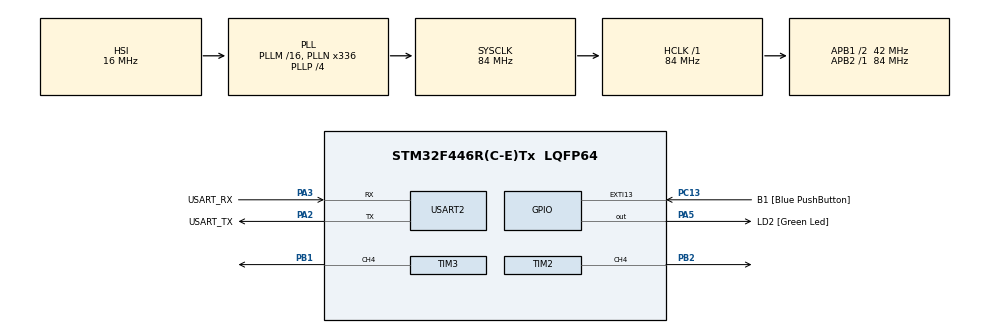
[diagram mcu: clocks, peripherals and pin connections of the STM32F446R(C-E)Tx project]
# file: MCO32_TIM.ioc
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Mcu.Family=STM32F4
Mcu.Name=STM32F446R(C-E)Tx
Mcu.Package=LQFP64
NVIC.PriorityGroup=NVIC_PRIORITYGROUP_0
NVIC.TIM6_DAC_IRQn=true\:0\:2\:false\:false\:true\:true\:true\:true
PA13.GPIO_Label=TMS
PA13.Mode=Serial_Wire
PA13.Signal=SYS_JTMS-SWDIO
PA14.GPIO_Label=TCK
PA14.Mode=Serial_Wire
PA14.Signal=SYS_JTCK-SWCLK
PA2.GPIO_Label=USART_TX
PA2.Mode=Asynchronous
PA2.Signal=USART2_TX
PA3.GPIO_Label=USART_RX
PA3.Mode=Asynchronous
PA3.Signal=USART2_RX
PA5.GPIO_Label=LD2 [Green Led]
PA5.Signal=GPIO_Output
PB1.Signal=S_TIM3_CH4
PB2.Signal=S_TIM2_CH4
PB3.GPIO_Label=SWO
PB3.Signal=SYS_JTDO-SWO
PC13.GPIO_Label=B1 [Blue PushButton]
PC13.GPIO_ModeDefaultEXTI=GPIO_MODE_IT_FALLING
PC13.Signal=GPXTI13
PC14-OSC32_IN.Mode=LSE-External-Oscillator
PC14-OSC32_IN.Signal=RCC_OSC32_IN
PC15-OSC32_OUT.Mode=LSE-External-Oscillator
PC15-OSC32_OUT.Signal=RCC_OSC32_OUT
PH0-OSC_IN.Mode=HSE-External-Oscillator
PH0-OSC_IN.Signal=RCC_OSC_IN
PH1-OSC_OUT.Mode=HSE-External-Oscillator
PH1-OSC_OUT.Signal=RCC_OSC_OUT
ProjectManager.HeapSize=0x200
ProjectManager.StackSize=0x400
ProjectManager.TargetToolchain=STM32CubeIDE
RCC.48MHZClocksFreq_Value=84000000
RCC.AHBFreq_Value=84000000
RCC.APB1CLKDivider=RCC_HCLK_DIV2
RCC.APB1Freq_Value=42000000
RCC.APB1TimFreq_Value=84000000
RCC.APB2Freq_Value=84000000
RCC.APB2TimFreq_Value=84000000
RCC.CortexFreq_Value=84000000
RCC.FLatency-AdvancedSettings=FLASH_LATENCY_2
RCC.HCLKFreq_Value=84000000
RCC.HSE_VALUE=8000000
RCC.HSI_VALUE=16000000
RCC.PLLN=336
RCC.PLLP=RCC_PLLP_DIV4
RCC.SYSCLKFreq_VALUE=84000000
RCC.SYSCLKSource=RCC_SYSCLKSOURCE_PLLCLK
RCC.USBFreq_Value=168000000
RCC.VCOOutputFreq_Value=336000000
SH.S_TIM2_CH4.0=TIM2_CH4,PWM Generation4 CH4
SH.S_TIM3_CH4.0=TIM3_CH4,PWM Generation4 CH4
TIM1.AutoReloadPreload=TIM_AUTORELOAD_PRELOAD_ENABLE
TIM1.Period=0xFFFF-1
TIM1.Prescaler=84-1
TIM2.Channel-PWM\ Generation4\ CH4=TIM_CHANNEL_4
TIM2.Period=2000-1
TIM2.Prescaler=840-1
TIM3.Channel-PWM\ Generation4\ CH4=TIM_CHANNEL_4
TIM3.Period=100-1
TIM3.Prescaler=84-1
TIM6.AutoReloadPreload=TIM_AUTORELOAD_PRELOAD_ENABLE
TIM6.Period=10000-1
TIM6.Prescaler=8400-1
USART2.VirtualMode=VM_ASYNC
VP_TIM1_VS_ClockSourceINT.Mode=Internal
VP_TIM2_VS_ClockSourceINT.Mode=Internal
VP_TIM3_VS_ClockSourceINT.Mode=Internal
VP_TIM6_VS_ClockSourceINT.Mode=Enable_Timer
board=NUCLEO-F446RE

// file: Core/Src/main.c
/* USER CODE BEGIN Header */
/**
  ******************************************************************************
  * @file           : main.c
  * @brief          : Main program body
  ******************************************************************************
  * @attention
  *
  * Copyright (c) 2022 STMicroelectronics.
  * All rights reserved.
  *
  * This software is licensed under terms that can be found in the LICENSE file
  * in the root directory of this software component.
  * If no LICENSE file comes with this software, it is provided AS-IS.
  *
  ******************************************************************************
  */
/* USER CODE END Header */
#include "main.h"

/* USER CODE BEGIN Includes */
#include <stdio.h>
/* USER CODE END Includes */

/* USER CODE BEGIN PD */

//#define EX1 1 //TIM1 no modo temporizador crescente (imprime na serial o valor atual)
//#define EX2 2 //TIM3 no modo PWM pino PB1 (medir com osciloscópio incremento do dutycycle)
//#define EX3 3 //TIM2 no modo PWM pino PB2 (controla o servo motor)
#define EX4 4 //TIM6 no modo retriguerável e interrupção (inverte LD2 a cada estouro)

/* USER CODE END PD */

TIM_HandleTypeDef htim1;
TIM_HandleTypeDef htim2;
TIM_HandleTypeDef htim3;
TIM_HandleTypeDef htim6;

UART_HandleTypeDef huart2;

void SystemClock_Config(void);
static void MX_GPIO_Init(void);
static void MX_USART2_UART_Init(void);
static void MX_TIM1_Init(void);
static void MX_TIM3_Init(void);
static void MX_TIM2_Init(void);
static void MX_TIM6_Init(void);

int main(void)
{
  /* USER CODE BEGIN 1 */
#ifdef EX1
	uint8_t size;
	char mensagem[50];
#endif

#ifdef EX2
	uint32_t dutycycle = 0;
#endif

  /* USER CODE END 1 */

  /* MCU Configuration--------------------------------------------------------*/

  /* Reset of all peripherals, Initializes the Flash interface and the Systick. */
  HAL_Init();

  /* Configure the system clock */
  SystemClock_Config();

  /* Initialize all configured peripherals */
  MX_GPIO_Init();
  MX_USART2_UART_Init();
  MX_TIM1_Init();
  MX_TIM3_Init();
  MX_TIM2_Init();
  MX_TIM6_Init();
  /* USER CODE BEGIN 2 */
#ifdef EX1
  HAL_TIM_Base_Start(&htim1); //Inicializa o Timer1 (tick 1us LCD)
#endif

#ifdef EX2
  HAL_TIM_PWM_Start(&htim3, TIM_CHANNEL_4); //Inicia o PWM no pino PB1
#endif

#ifdef EX3
  //Inicia o PWM no pino PB2 para servo motor
  HAL_TIM_PWM_Start(&htim2, TIM_CHANNEL_4);
  //Ajusta o ângulo em 0 graus
  htim2.Instance->CCR4 = 0 + 60; //60 = 0,6 ms, 0 = 0,0 ms, total = 0,6 ms
#endif

#ifdef EX4
  HAL_TIM_Base_Start_IT(&htim6); //Inicia o timer
#endif
  /* USER CODE END 2 */

  /* Infinite loop */
  /* USER CODE BEGIN WHILE */
  while (1)
  {
#ifdef EX1
	  /* Imprime valor do timer1 */
	  size = sprintf(mensagem, "TIM2 = %lu\r\n", htim1.Instance->CNT);
	  HAL_UART_Transmit(&huart2, (uint8_t*)mensagem, size, 100);
	  HAL_Delay(20);
#endif

#ifdef EX2
	  /* Ajusta dutycycle do pwm (CH4 - PB1) */
	  dutycycle = (dutycycle + 1) %101;
	  htim3.Instance->CCR4 = dutycycle;
#endif

#ifdef EX3
	  for(uint8_t i=0; i<=180; i=i+10)
	  {
		  htim2.Instance->CCR4 = i + 60;
		  HAL_Delay(200);
	  }
#endif

    /* USER CODE END WHILE */

  }
}

void SystemClock_Config(void)
{
  RCC_OscInitTypeDef RCC_OscInitStruct = {0};
  RCC_ClkInitTypeDef RCC_ClkInitStruct = {0};

  /** Configure the main internal regulator output voltage
  */
  __HAL_RCC_PWR_CLK_ENABLE();
  __HAL_PWR_VOLTAGESCALING_CONFIG(PWR_REGULATOR_VOLTAGE_SCALE3);

  /** Initializes the RCC Oscillators according to the specified parameters
  * in the RCC_OscInitTypeDef structure.
  */
  RCC_OscInitStruct.OscillatorType = RCC_OSCILLATORTYPE_HSI;
  RCC_OscInitStruct.HSIState = RCC_HSI_ON;
  RCC_OscInitStruct.HSICalibrationValue = RCC_HSICALIBRATION_DEFAULT;
  RCC_OscInitStruct.PLL.PLLState = RCC_PLL_ON;
  RCC_OscInitStruct.PLL.PLLSource = RCC_PLLSOURCE_HSI;
  RCC_OscInitStruct.PLL.PLLM = 16;
  RCC_OscInitStruct.PLL.PLLN = 336;
  RCC_OscInitStruct.PLL.PLLP = RCC_PLLP_DIV4;
  RCC_OscInitStruct.PLL.PLLQ = 2;
  RCC_OscInitStruct.PLL.PLLR = 2;
  if (HAL_RCC_OscConfig(&RCC_OscInitStruct) != HAL_OK)
  {
    Error_Handler();
  }

  /** Initializes the CPU, AHB and APB buses clocks
  */
  RCC_ClkInitStruct.ClockType = RCC_CLOCKTYPE_HCLK|RCC_CLOCKTYPE_SYSCLK
                              |RCC_CLOCKTYPE_PCLK1|RCC_CLOCKTYPE_PCLK2;
  RCC_ClkInitStruct.SYSCLKSource = RCC_SYSCLKSOURCE_PLLCLK;
  RCC_ClkInitStruct.AHBCLKDivider = RCC_SYSCLK_DIV1;
  RCC_ClkInitStruct.APB1CLKDivider = RCC_HCLK_DIV2;
  RCC_ClkInitStruct.APB2CLKDivider = RCC_HCLK_DIV1;

  if (HAL_RCC_ClockConfig(&RCC_ClkInitStruct, FLASH_LATENCY_2) != HAL_OK)
  {
    Error_Handler();
  }
}

static void MX_TIM1_Init(void)
{

  TIM_ClockConfigTypeDef sClockSourceConfig = {0};
  TIM_MasterConfigTypeDef sMasterConfig = {0};

  htim1.Instance = TIM1;
  htim1.Init.Prescaler = 84-1;
  htim1.Init.CounterMode = TIM_COUNTERMODE_UP;
  htim1.Init.Period = 0xFFFF-1;
  htim1.Init.ClockDivision = TIM_CLOCKDIVISION_DIV1;
  htim1.Init.RepetitionCounter = 0;
  htim1.Init.AutoReloadPreload = TIM_AUTORELOAD_PRELOAD_ENABLE;
  if (HAL_TIM_Base_Init(&htim1) != HAL_OK)
  {
    Error_Handler();
  }
  sClockSourceConfig.ClockSource = TIM_CLOCKSOURCE_INTERNAL;
  if (HAL_TIM_ConfigClockSource(&htim1, &sClockSourceConfig) != HAL_OK)
  {
    Error_Handler();
  }
  sMasterConfig.MasterOutputTrigger = TIM_TRGO_RESET;
  sMasterConfig.MasterSlaveMode = TIM_MASTERSLAVEMODE_DISABLE;
  if (HAL_TIMEx_MasterConfigSynchronization(&htim1, &sMasterConfig) != HAL_OK)
  {
    Error_Handler();
  }

}

static void MX_TIM2_Init(void)
{

  TIM_ClockConfigTypeDef sClockSourceConfig = {0};
  TIM_MasterConfigTypeDef sMasterConfig = {0};
  TIM_OC_InitTypeDef sConfigOC = {0};

  htim2.Instance = TIM2;
  htim2.Init.Prescaler = 840-1;
  htim2.Init.CounterMode = TIM_COUNTERMODE_UP;
  htim2.Init.Period = 2000-1;
  htim2.Init.ClockDivision = TIM_CLOCKDIVISION_DIV1;
  htim2.Init.AutoReloadPreload = TIM_AUTORELOAD_PRELOAD_DISABLE;
  if (HAL_TIM_Base_Init(&htim2) != HAL_OK)
  {
    Error_Handler();
  }
  sClockSourceConfig.ClockSource = TIM_CLOCKSOURCE_INTERNAL;
  if (HAL_TIM_ConfigClockSource(&htim2, &sClockSourceConfig) != HAL_OK)
  {
    Error_Handler();
  }
  if (HAL_TIM_PWM_Init(&htim2) != HAL_OK)
  {
    Error_Handler();
  }
  sMasterConfig.MasterOutputTrigger = TIM_TRGO_RESET;
  sMasterConfig.MasterSlaveMode = TIM_MASTERSLAVEMODE_DISABLE;
  if (HAL_TIMEx_MasterConfigSynchronization(&htim2, &sMasterConfig) != HAL_OK)
  {
    Error_Handler();
  }
  sConfigOC.OCMode = TIM_OCMODE_PWM1;
  sConfigOC.Pulse = 0;
  sConfigOC.OCPolarity = TIM_OCPOLARITY_HIGH;
  sConfigOC.OCFastMode = TIM_OCFAST_DISABLE;
  if (HAL_TIM_PWM_ConfigChannel(&htim2, &sConfigOC, TIM_CHANNEL_4) != HAL_OK)
  {
    Error_Handler();
  }
  HAL_TIM_MspPostInit(&htim2);

}

static void MX_TIM3_Init(void)
{

  TIM_ClockConfigTypeDef sClockSourceConfig = {0};
  TIM_MasterConfigTypeDef sMasterConfig = {0};
  TIM_OC_InitTypeDef sConfigOC = {0};

  htim3.Instance = TIM3;
  htim3.Init.Prescaler = 84-1;
  htim3.Init.CounterMode = TIM_COUNTERMODE_UP;
  htim3.Init.Period = 100-1;
  htim3.Init.ClockDivision = TIM_CLOCKDIVISION_DIV1;
  htim3.Init.AutoReloadPreload = TIM_AUTORELOAD_PRELOAD_DISABLE;
  if (HAL_TIM_Base_Init(&htim3) != HAL_OK)
  {
    Error_Handler();
  }
  sClockSourceConfig.ClockSource = TIM_CLOCKSOURCE_INTERNAL;
  if (HAL_TIM_ConfigClockSource(&htim3, &sClockSourceConfig) != HAL_OK)
  {
    Error_Handler();
  }
  if (HAL_TIM_PWM_Init(&htim3) != HAL_OK)
  {
    Error_Handler();
  }
  sMasterConfig.MasterOutputTrigger = TIM_TRGO_RESET;
  sMasterConfig.MasterSlaveMode = TIM_MASTERSLAVEMODE_DISABLE;
  if (HAL_TIMEx_MasterConfigSynchronization(&htim3, &sMasterConfig) != HAL_OK)
  {
    Error_Handler();
  }
  sConfigOC.OCMode = TIM_OCMODE_PWM1;
  sConfigOC.Pulse = 0;
  sConfigOC.OCPolarity = TIM_OCPOLARITY_HIGH;
  sConfigOC.OCFastMode = TIM_OCFAST_DISABLE;
  if (HAL_TIM_PWM_ConfigChannel(&htim3, &sConfigOC, TIM_CHANNEL_4) != HAL_OK)
  {
    Error_Handler();
  }
  HAL_TIM_MspPostInit(&htim3);

}

static void MX_TIM6_Init(void)
{

  TIM_MasterConfigTypeDef sMasterConfig = {0};

  htim6.Instance = TIM6;
  htim6.Init.Prescaler = 8400-1;
  htim6.Init.CounterMode = TIM_COUNTERMODE_UP;
  htim6.Init.Period = 10000-1;
  htim6.Init.AutoReloadPreload = TIM_AUTORELOAD_PRELOAD_ENABLE;
  if (HAL_TIM_Base_Init(&htim6) != HAL_OK)
  {
    Error_Handler();
  }
  sMasterConfig.MasterOutputTrigger = TIM_TRGO_RESET;
  sMasterConfig.MasterSlaveMode = TIM_MASTERSLAVEMODE_DISABLE;
  if (HAL_TIMEx_MasterConfigSynchronization(&htim6, &sMasterConfig) != HAL_OK)
  {
    Error_Handler();
  }

}

static void MX_USART2_UART_Init(void)
{

  huart2.Instance = USART2;
  huart2.Init.BaudRate = 115200;
  huart2.Init.WordLength = UART_WORDLENGTH_8B;
  huart2.Init.StopBits = UART_STOPBITS_1;
  huart2.Init.Parity = UART_PARITY_NONE;
  huart2.Init.Mode = UART_MODE_TX_RX;
  huart2.Init.HwFlowCtl = UART_HWCONTROL_NONE;
  huart2.Init.OverSampling = UART_OVERSAMPLING_16;
  if (HAL_UART_Init(&huart2) != HAL_OK)
  {
    Error_Handler();
  }

}

static void MX_GPIO_Init(void)
{
  GPIO_InitTypeDef GPIO_InitStruct = {0};

  /* GPIO Ports Clock Enable */
  __HAL_RCC_GPIOC_CLK_ENABLE();
  __HAL_RCC_GPIOH_CLK_ENABLE();
  __HAL_RCC_GPIOA_CLK_ENABLE();
  __HAL_RCC_GPIOB_CLK_ENABLE();

  /*Configure GPIO pin Output Level */
  HAL_GPIO_WritePin(LD2_GPIO_Port, LD2_Pin, GPIO_PIN_RESET);

  /*Configure GPIO pin : B1_Pin */
  GPIO_InitStruct.Pin = B1_Pin;
  GPIO_InitStruct.Mode = GPIO_MODE_IT_FALLING;
  GPIO_InitStruct.Pull = GPIO_NOPULL;
  HAL_GPIO_Init(B1_GPIO_Port, &GPIO_InitStruct);

  /*Configure GPIO pin : LD2_Pin */
  GPIO_InitStruct.Pin = LD2_Pin;
  GPIO_InitStruct.Mode = GPIO_MODE_OUTPUT_PP;
  GPIO_InitStruct.Pull = GPIO_NOPULL;
  GPIO_InitStruct.Speed = GPIO_SPEED_FREQ_LOW;
  HAL_GPIO_Init(LD2_GPIO_Port, &GPIO_InitStruct);

}

/* USER CODE BEGIN 4 */

#ifdef EX4
/**
 * @brief Sobrescreve função de callback da interrupção de timer
 * @param htim é um ponteiro para o timer que chamou a interrupção
 */
void HAL_TIM_PeriodElapsedCallback(TIM_HandleTypeDef *htim)
{
	if(htim->Instance == TIM6)
	{
		HAL_GPIO_TogglePin(LD2_GPIO_Port, LD2_Pin);
	}
}
#endif

/* USER CODE END 4 */

void Error_Handler(void)
{
  __disable_irq();
  while (1)
  {
  }
}
